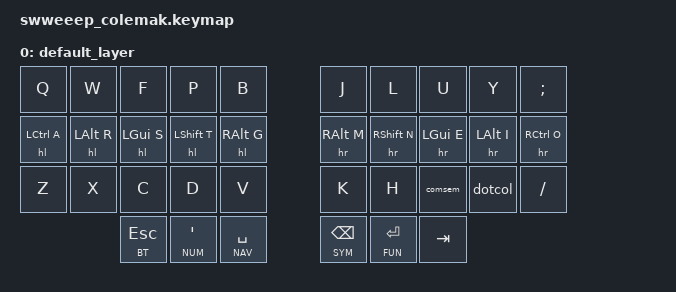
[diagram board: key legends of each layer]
#include "swweeep_common.dtsi"

// Colemak-DH base layer, built as the swweeep_left-colemak-dh firmware.
// Thumbs match Aptmak, with Backspace instead of E on the SYM thumb.

/ {
    keymap {
        compatible = "zmk,keymap";

    default_layer {
            bindings = <
    &kp Q        &kp W       &kp F       &kp P        &kp B          &kp J         &kp L          &kp U       &kp Y       &kp SEMI
    &hl LCTRL A  &hl LALT R  &hl LGUI S  &hl LSHFT T  &hl RALT G     &hr RALT M    &hr RSHFT N    &hr LGUI E  &hr LALT I  &hr RCTRL O
    &kp Z        &kp X       &kp C       &kp D        &kp V          &kp K         &kp H          &comsem     &dotcol     &kp FSLH
                             &lt BT ESC  &lt NUM SQT  &lt NAV SPACE  &lt SYM BSPC  &lt FUN ENTER  &kp TAB
            >;
        };
    };
};

#include "swweeep_layers.dtsi"
